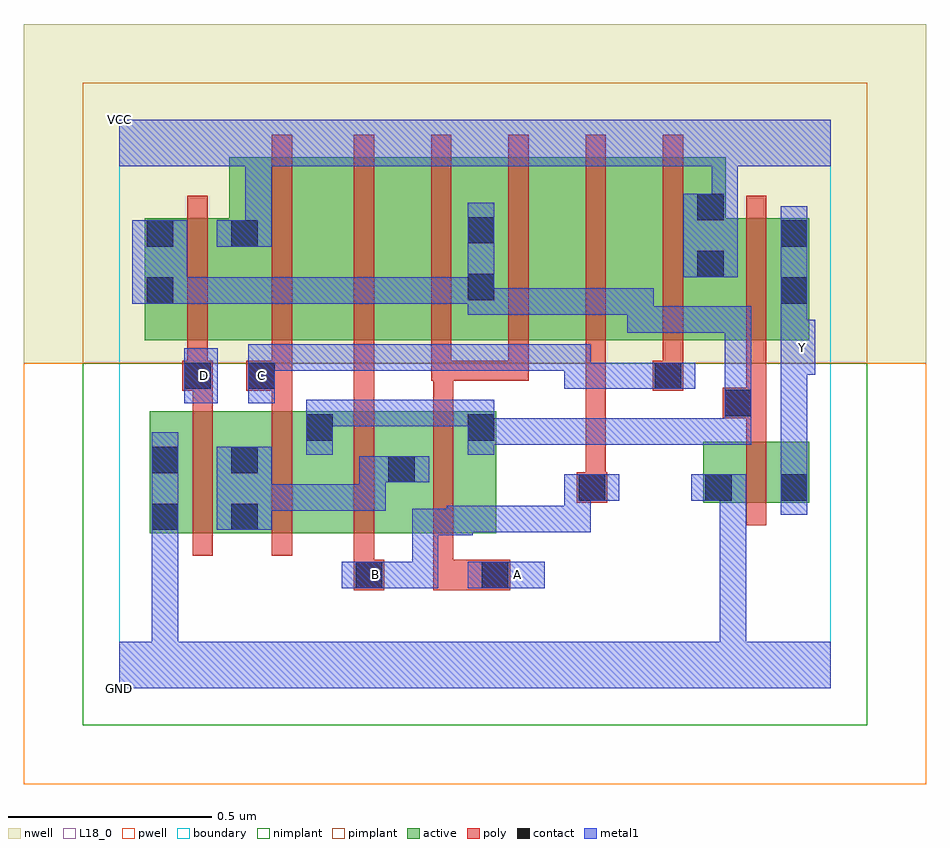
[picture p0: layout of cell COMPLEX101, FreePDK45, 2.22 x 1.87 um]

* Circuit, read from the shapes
.subckt COMPLEX101 A B C D GND VCC Y
M1 n1 D GND VSUBS nfet w=0.3u l=0.05u
M2 n2 C n1 VSUBS nfet w=0.3u l=0.05u
M3 n1 B n2 VSUBS nfet w=0.3u l=0.05u
M4 n2 A n1 VSUBS nfet w=0.3u l=0.05u
M5 Y n2 GND VSUBS nfet w=0.15u l=0.05u
M6 VCC D n2 n3 pfet w=0.3u l=0.05u
M7 n4 C VCC n3 pfet w=0.45u l=0.05u
M8 n5 B n4 n3 pfet w=0.45u l=0.05u
M9 n2 A n5 n3 pfet w=0.45u l=0.05u
M10 n6 A n2 n3 pfet w=0.45u l=0.05u
M11 n7 B n6 n3 pfet w=0.45u l=0.05u
M12 VCC C n7 n3 pfet w=0.45u l=0.05u
M13 Y n2 VCC n3 pfet w=0.3u l=0.05u
.ends

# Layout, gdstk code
import gdstk
lib = gdstk.Library(unit=1e-6, precision=1e-09)
def R(c, l, rs):  # rectangles x0, y0, x1, y1
    for r in rs: c.add(gdstk.rectangle(r[:2], r[2:], *l))
def A(c, l, x, y, w, h, nx, ny, dx, dy):  # array of equal rectangles
    R(c, l, [(x+i*dx, y+j*dy, x+i*dx+w, y+j*dy+h) for i in range(nx) for j in range(ny)])
active = (1, 0)
pwell = (2, 0)
nwell = (3, 0)
nimplant = (4, 0)
pimplant = (5, 0)
poly = (9, 0)
contact = (10, 0)
metal1 = (11, 0)
L18_0 = (18, 0)
boundary = (235, 0)

complex101 = lib.new_cell('COMPLEX101')
R(complex101, active, [(0.075,0.382,0.345,0.682), (0.075,0.382,0.15,0.682), (0.27,0.382,0.53,0.682), (0.27,0.382,0.345,0.677), (0.455,0.382,0.732,0.682), (0.657,0.382,0.927,0.682), (0.455,0.445,0.53,0.68), (0.657,0.445,0.732,0.577), (0.852,0.445,0.927,0.682), (1.437,0.457,1.512,0.607), (1.437,0.457,1.697,0.607), (1.622,0.457,1.697,0.607), (0.062,0.857,0.137,1.157), (0.062,0.857,0.345,1.157), (0.27,0.857,0.495,1.307), (0.495,0.857,0.697,1.307), (0.697,0.857,0.927,1.307), (0.852,0.857,1.077,1.307), (0.852,0.857,0.927,1.2), (1.077,0.857,1.267,1.307), (1.267,0.857,1.492,1.307), (1.417,0.857,1.697,1.157), (1.622,0.857,1.697,1.157), (0.27,1.007,0.345,1.307), (1.417,1.007,1.492,1.307)])
R(complex101, pwell, [(-0.235,-0.235,1.985,0.8)])
R(complex101, nwell, [(-0.235,0.8,1.985,1.635)])
R(complex101, nimplant, [(-0.09,-0.09,1.84,0.8)])
R(complex101, pimplant, [(-0.09,0.8,1.84,1.49)])
A(complex101, poly, 0.577, 0.757, 0.05, 0.095, 3, 1, 0.19, 0)
A(complex101, poly, 0.577, 0.802, 0.05, 0.56, 5, 1, 0.19, 0)
R(complex101, poly, [(0.577,0.242,0.652,0.317), (0.772,0.242,0.962,0.317), (0.577,0.267,0.627,0.377), (0.772,0.267,0.822,0.377), (0.18,0.327,0.23,0.737), (0.375,0.327,0.425,0.737), (0.577,0.327,0.627,0.737), (0.772,0.327,0.822,0.737), (1.542,0.402,1.592,0.662), (1.125,0.457,1.2,0.532), (1.147,0.482,1.197,0.852), (1.147,0.482,1.197,0.532), (1.147,0.482,1.197,0.532), (1.147,0.482,1.197,0.532), (1.147,0.482,1.197,0.532), (1.542,0.612,1.592,0.715), (1.485,0.665,1.592,0.74), (0.18,0.687,0.23,0.782), (0.375,0.687,0.425,0.782), (0.577,0.687,0.627,0.807), (0.772,0.687,0.822,0.807), (1.542,0.69,1.592,0.852), (0.155,0.732,0.23,0.807), (0.312,0.732,0.425,0.807), (1.312,0.732,1.387,0.807), (0.167,0.757,0.217,0.852), (0.375,0.757,0.425,0.852), (0.577,0.757,0.627,0.807), (0.767,0.757,0.822,0.807), (0.772,0.757,0.822,0.807), (0.772,0.757,0.822,0.807), (0.772,0.757,1.007,0.807), (0.957,0.757,1.007,0.807), (1.337,0.757,1.387,0.852), (0.167,0.802,0.217,1.212), (0.375,0.802,0.425,1.362), (1.542,0.802,1.592,1.212)])
R(complex101, contact, [(0.582,0.247,0.647,0.312), (0.892,0.247,0.957,0.312), (0.08,0.39,0.145,0.455), (0.275,0.39,0.34,0.455), (1.13,0.462,1.195,0.527), (1.442,0.462,1.507,0.527), (1.627,0.462,1.692,0.527), (0.662,0.507,0.727,0.572), (0.08,0.53,0.145,0.595), (0.275,0.53,0.34,0.595), (0.46,0.61,0.525,0.675), (0.857,0.61,0.922,0.675), (1.49,0.67,1.555,0.735), (0.16,0.737,0.225,0.802), (0.317,0.737,0.382,0.802), (1.317,0.737,1.382,0.802), (0.067,0.947,0.132,1.012), (1.627,0.947,1.692,1.012), (0.857,0.955,0.922,1.02), (1.422,1.012,1.487,1.077), (0.067,1.087,0.132,1.152), (0.275,1.087,0.34,1.152), (1.627,1.087,1.692,1.152), (0.857,1.095,0.922,1.16), (1.422,1.152,1.487,1.217)])
R(complex101, metal1, [(0,0,1.75,0.115), (0.08,0.05,0.145,0.115), (0.08,0.05,0.145,0.115), (0.08,0.05,0.145,0.115), (0.08,0.05,0.145,0.115), (0.08,0.05,0.145,0.115), (0.08,0.05,0.145,0.115), (0.08,0.05,0.145,0.42), (1.477,0.05,1.542,0.405), (0.547,0.247,0.697,0.312), (0.632,0.247,0.785,0.312), (0.72,0.247,0.785,0.312), (0.72,0.247,0.785,0.442), (0.857,0.247,1.047,0.312), (1.477,0.34,1.542,0.405), (1.477,0.34,1.542,0.405), (1.477,0.34,1.542,0.405), (1.477,0.34,1.542,0.405), (1.477,0.34,1.542,0.405), (1.477,0.34,1.542,0.405), (1.477,0.34,1.542,0.405), (1.477,0.34,1.542,0.527), (0.08,0.355,0.145,0.63), (0.72,0.377,0.785,0.442), (0.72,0.377,0.87,0.442), (0.805,0.377,0.87,0.45), (0.805,0.385,1.007,0.45), (0.942,0.385,1.007,0.45), (0.942,0.385,1.007,0.45), (0.942,0.385,1.007,0.45), (0.942,0.385,1.16,0.45), (1.095,0.385,1.16,0.45), (1.095,0.385,1.16,0.527), (0.24,0.39,0.375,0.595), (1.627,0.427,1.692,0.562), (0.31,0.437,0.375,0.502), (0.31,0.437,0.375,0.502), (0.31,0.437,0.525,0.502), (0.46,0.437,0.525,0.502), (0.46,0.437,0.655,0.502), (0.59,0.437,0.655,0.572), (1.095,0.462,1.16,0.527), (1.095,0.462,1.16,0.527), (1.095,0.462,1.23,0.527), (1.407,0.462,1.542,0.527), (1.627,0.497,1.692,0.837), (0.59,0.507,0.692,0.572), (0.627,0.507,0.762,0.572), (0.46,0.575,0.525,0.71), (0.857,0.575,0.922,0.71), (0.857,0.6,1.007,0.665), (0.942,0.6,1.007,0.665), (0.942,0.6,1.177,0.665), (1.112,0.6,1.177,0.665), (1.112,0.6,1.177,0.665), (1.112,0.6,1.177,0.665), (1.112,0.6,1.315,0.665), (1.25,0.6,1.315,0.665), (1.25,0.6,1.315,0.665), (1.25,0.6,1.315,0.665), (1.25,0.6,1.555,0.665), (1.49,0.6,1.555,0.665), (1.49,0.6,1.555,0.7), (1.49,0.635,1.555,0.77), (1.49,0.635,1.555,0.7), (1.49,0.635,1.555,0.7), (1.49,0.635,1.555,0.94), (0.46,0.645,0.662,0.71), (0.597,0.645,0.662,0.71), (0.597,0.645,0.662,0.71), (0.597,0.645,0.662,0.71), (0.597,0.645,0.87,0.71), (0.805,0.645,0.87,0.71), (0.805,0.645,0.922,0.71), (0.16,0.702,0.242,0.837), (0.317,0.702,0.382,0.847), (1.095,0.737,1.16,0.802), (1.095,0.737,1.16,0.802), (1.095,0.737,1.16,0.847), (1.095,0.737,1.315,0.802), (1.25,0.737,1.315,0.802), (1.25,0.737,1.347,0.802), (1.282,0.737,1.417,0.802), (1.627,0.772,1.712,0.907), (0.317,0.782,0.525,0.847), (0.46,0.782,0.525,0.847), (0.46,0.782,0.525,0.847), (0.46,0.782,0.525,0.847), (0.46,0.782,0.662,0.847), (0.597,0.782,0.662,0.847), (0.597,0.782,0.87,0.847), (0.805,0.782,0.87,0.847), (0.805,0.782,1.022,0.847), (0.957,0.782,1.022,0.847), (0.957,0.782,1.022,0.847), (0.957,0.782,1.022,0.847), (0.957,0.782,1.16,0.847), (1.627,0.842,1.692,0.977), (1.25,0.875,1.315,0.94), (1.25,0.875,1.315,0.94), (1.25,0.875,1.555,0.94), (1.25,0.875,1.315,0.985), (1.49,0.875,1.555,0.94), (1.627,0.912,1.692,1.187), (0.857,0.92,0.922,1.195), (0.857,0.92,1.007,0.985), (0.942,0.92,1.007,0.985), (0.942,0.92,1.177,0.985), (1.112,0.92,1.177,0.985), (1.112,0.92,1.177,0.985), (1.112,0.92,1.177,0.985), (1.112,0.92,1.315,0.985), (0.032,0.947,0.167,1.152), (0.102,0.947,0.167,1.012), (0.102,0.947,0.167,1.012), (0.102,0.947,0.387,1.012), (0.322,0.947,0.387,1.012), (0.322,0.947,0.387,1.012), (0.322,0.947,0.387,1.012), (0.322,0.947,0.525,1.012), (0.46,0.947,0.525,1.012), (0.46,0.947,0.525,1.012), (0.46,0.947,0.525,1.012), (0.46,0.947,0.662,1.012), (0.597,0.947,0.662,1.012), (0.597,0.947,0.87,1.012), (0.805,0.947,0.87,1.012), (0.805,0.947,0.922,1.012), (1.387,1.012,1.522,1.217), (0.24,1.087,0.375,1.152), (0.31,1.087,0.375,1.35), (1.457,1.152,1.522,1.35), (0,1.285,1.75,1.4)])
R(complex101, L18_0, [(0,0,1.75,0.115), (0.08,0.05,0.145,0.115), (0.08,0.05,0.145,0.115), (0.08,0.05,0.145,0.115), (0.08,0.05,0.145,0.115), (0.08,0.05,0.145,0.115), (0.08,0.05,0.145,0.115), (0.08,0.05,0.145,0.42), (1.477,0.05,1.542,0.405), (0.547,0.247,0.697,0.312), (0.597,0.247,0.662,0.312), (0.632,0.247,0.785,0.312), (0.72,0.247,0.785,0.312), (0.72,0.247,0.785,0.442), (0.857,0.247,1.047,0.312), (0.947,0.247,1.012,0.312), (1.477,0.34,1.542,0.405), (1.477,0.34,1.542,0.405), (1.477,0.34,1.542,0.405), (1.477,0.34,1.542,0.405), (1.477,0.34,1.542,0.405), (1.477,0.34,1.542,0.405), (1.477,0.34,1.542,0.405), (1.477,0.34,1.542,0.527), (0.08,0.355,0.145,0.63), (0.72,0.377,0.785,0.442), (0.72,0.377,0.87,0.442), (0.805,0.377,0.87,0.45), (0.805,0.385,1.007,0.45), (0.942,0.385,1.007,0.45), (0.942,0.385,1.007,0.45), (0.942,0.385,1.007,0.45), (0.942,0.385,1.16,0.45), (1.095,0.385,1.16,0.45), (1.095,0.385,1.16,0.527), (1.627,0.427,1.692,0.562), (1.095,0.462,1.16,0.527), (1.095,0.462,1.16,0.527), (1.095,0.462,1.23,0.527), (1.407,0.462,1.542,0.527), (1.627,0.497,1.692,0.837), (0.16,0.702,0.242,0.837), (0.317,0.702,0.382,0.847), (0.177,0.737,0.242,0.802), (0.317,0.737,0.382,0.802), (1.095,0.737,1.16,0.802), (1.095,0.737,1.16,0.802), (1.095,0.737,1.16,0.847), (1.095,0.737,1.315,0.802), (1.25,0.737,1.315,0.802), (1.25,0.737,1.347,0.802), (1.282,0.737,1.417,0.802), (1.627,0.772,1.712,0.907), (0.317,0.782,0.525,0.847), (0.46,0.782,0.525,0.847), (0.46,0.782,0.525,0.847), (0.46,0.782,0.525,0.847), (0.46,0.782,0.662,0.847), (0.597,0.782,0.662,0.847), (0.597,0.782,0.87,0.847), (0.805,0.782,0.87,0.847), (0.805,0.782,1.022,0.847), (0.957,0.782,1.022,0.847), (0.957,0.782,1.022,0.847), (0.957,0.782,1.022,0.847), (0.957,0.782,1.16,0.847), (1.647,0.807,1.712,0.872), (1.627,0.842,1.692,0.977), (1.627,0.912,1.692,1.187), (1.387,1.012,1.522,1.217), (0.24,1.087,0.375,1.152), (0.31,1.087,0.375,1.35), (1.457,1.152,1.522,1.35), (0,1.285,1.75,1.4)])
R(complex101, boundary, [(0,0,1.75,1.4)])
complex101.add(gdstk.Label('A', (0.98,0.28), layer=11, texttype=0))
complex101.add(gdstk.Label('B', (0.63,0.28), layer=11, texttype=0))
complex101.add(gdstk.Label('C', (0.35,0.77), layer=11, texttype=0))
complex101.add(gdstk.Label('D', (0.21,0.77), layer=11, texttype=0))
complex101.add(gdstk.Label('Y', (1.68,0.84), layer=11, texttype=0))
complex101.add(gdstk.Label('VCC', (0,1.4), layer=11, texttype=0))
complex101.add(gdstk.Label('GND', (0,0), layer=11, texttype=0))

lib.write_gds('COMPLEX101.gds')
